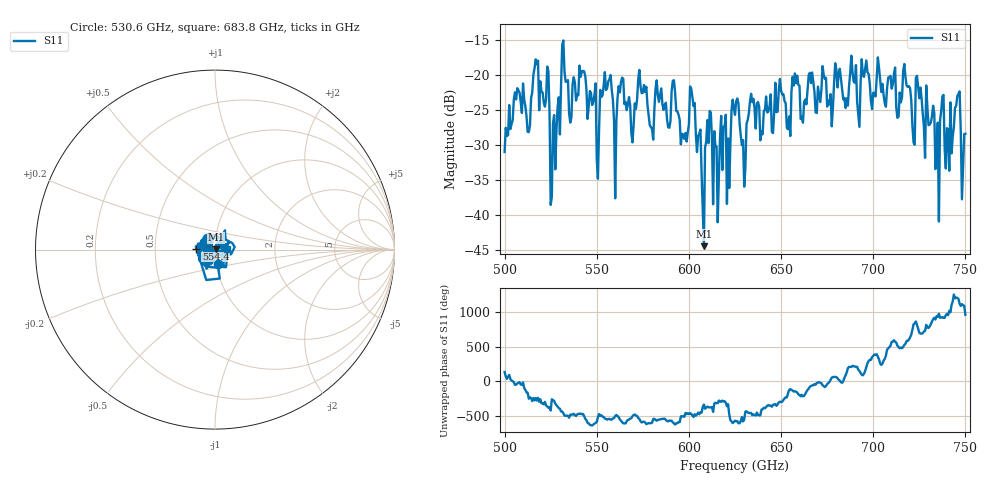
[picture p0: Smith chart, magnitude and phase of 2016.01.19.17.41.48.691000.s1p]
!Created with skrf (http://scikit-rf.org).
# GHz S RI R 50.0
!freq ReS11 ImS11
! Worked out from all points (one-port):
!   401 points, 500 GHz to 750 GHz, reference 50 ohm
!   lowest |S11| = -44.5 dB at 608.1 GHz (marker M1), VSWR 1.01, Z = 50.6 + j0.212 ohm
!   |S11| at or under -10 dB: start of sweep to end of sweep
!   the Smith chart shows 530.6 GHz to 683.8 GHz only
!   S11 on the Smith chart (normalised r, x): 530.6 GHz: 1.02, -0.17; 554.4 GHz: 0.81, +0.01; 683.8 GHz: 1.14, +0.00
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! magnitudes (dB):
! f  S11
! 500 GHz  -31.0
! 506.9 GHz  -21.9
! 513.1 GHz  -28.2
! 516.9 GHz  -17.8
! 523.1 GHz  -18.8
! 526.2 GHz  -26.9
! 530.6 GHz  -21.5
! 531.2 GHz  -15.7
! 541.9 GHz  -19.5
! 551.2 GHz  -27.8
! 554.4 GHz  -19.6
! 560 GHz  -37.6
! 562.5 GHz  -22.5
! 593.8 GHz  -25.2
! 601.9 GHz  -23.1
! 608.1 GHz  -44.5
! 610.6 GHz  -29.7
! 614.4 GHz  -30.2
! 625 GHz  -25.7
! 629.4 GHz  -29.3
! 633.8 GHz  -22.7
! 656.2 GHz  -20.3
! 683.8 GHz  -23.5
! 687.5 GHz  -19.7
! 718.8 GHz  -21.7
! 735 GHz  -26.8
! 745.6 GHz  -23.0
! 750 GHz  -28.4
